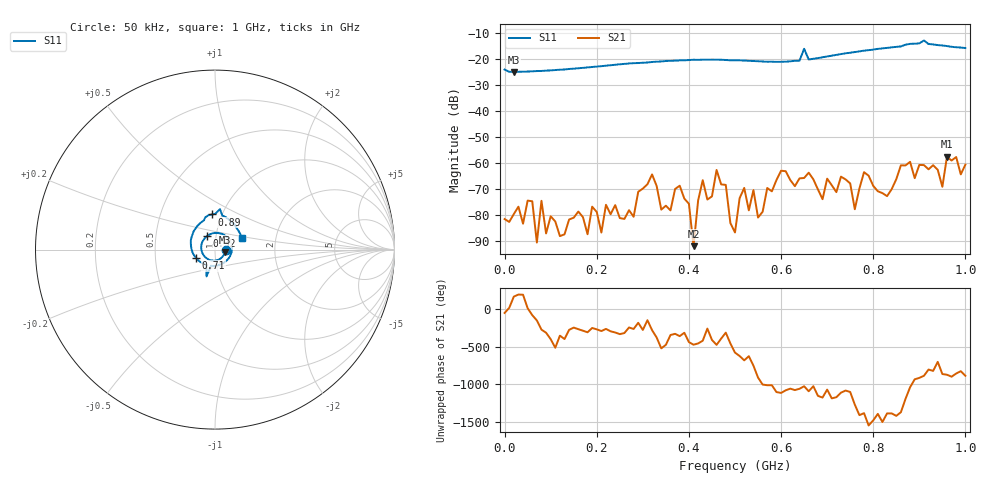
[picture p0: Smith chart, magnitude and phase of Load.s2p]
# HZ S RI R 50
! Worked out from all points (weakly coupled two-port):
!   101 points, 50 kHz to 1 GHz, reference 50 ohm
!   highest |S21| = -57.59 dB at 960 MHz (marker M1); lowest = -91.9 dB at 410 MHz (marker M2)
!   lowest |S11| = -24.9 dB at 20.05 MHz (marker M3), VSWR 1.12, Z = 55.7 - j1.8 ohm
!   |S11| at or under -10 dB: start of sweep to end of sweep
!   S12 and S22 are empty: the file has one direction only
!   S11 on the Smith chart (normalised r, x): 50 kHz: 1.13, -0.00; 320 MHz: 0.91, +0.14; 710 MHz: 0.81, -0.08; 890 MHz: 0.89, +0.36; 1 GHz: 1.34, +0.18
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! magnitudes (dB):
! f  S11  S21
! 50 kHz  -24.1  -81.5
! 20.05 MHz  -24.9  -79.6
! 170 MHz  -23.4  -80.8
! 280 MHz  -21.6  -80.6
! 320 MHz  -21.2  -64.4
! 340 MHz  -21.0  -77.9
! 380 MHz  -20.6  -68.7
! 410 MHz  -20.3  -91.9
! 460 MHz  -20.2  -62.6
! 500 MHz  -20.5  -86.6
! 520 MHz  -20.6  -69.5
! 560 MHz  -21.0  -78.7
! 600 MHz  -21.1  -62.9
! 670 MHz  -19.9  -66.2
! 710 MHz  -18.7  -68.5
! 760 MHz  -17.3  -77.7
! 780 MHz  -16.8  -63.5
! 840 MHz  -15.5  -70.0
! 890 MHz  -14.1  -65.8
! 950 MHz  -14.8  -69.1
! 960 MHz  -15.0  -57.6
! 1 GHz  -15.8  -60.6
